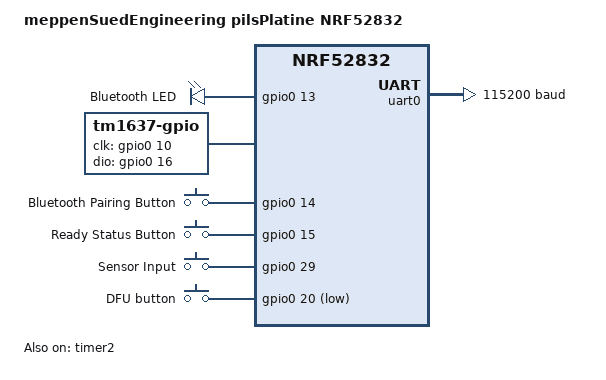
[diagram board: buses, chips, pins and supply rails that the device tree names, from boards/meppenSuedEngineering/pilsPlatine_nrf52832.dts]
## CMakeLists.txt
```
# SPDX-License-Identifier: Apache-2.0

cmake_minimum_required(VERSION 3.20.0)
find_package(Zephyr REQUIRED HINTS $ENV{ZEPHYR_BASE})
project(button)

target_include_directories(app PRIVATE include)
target_sources(app PRIVATE src/main.c src/tm1637.c src/fsm_core.c src/runtime.c src/state_machine.c src/bluetooth.c)
set(DBOARD_ROOT .)
```

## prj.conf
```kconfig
CONFIG_GPIO=y
CONFIG_BOOTLOADER_MCUBOOT=y

# Print a banner on the UART on startup.
#CONFIG_BOOT_BANNER=y

# Enable console and printk()
CONFIG_PRINTK=y
CONFIG_STDOUT_CONSOLE=y
CONFIG_SERIAL=y
CONFIG_UART_CONSOLE=y
CONFIG_CONSOLE=y
CONFIG_MCUBOOT_GENERATE_UNSIGNED_IMAGE=y

#Enable timer
CONFIG_NRFX_TIMER1=y
CONFIG_NRFX_PPI=y
CONFIG_COUNTER=y
CONFIG_NRFX_GPIOTE_NUM_OF_EVT_HANDLERS=2

CONFIG_BT=y
CONFIG_BT_HCI=y
CONFIG_BT_SMP=y
CONFIG_BT_PERIPHERAL=y
CONFIG_BT_ATT_PREPARE_COUNT=2
CONFIG_BT_DEVICE_NAME="Trichter me slowly"
CONFIG_BT_DEVICE_APPEARANCE=1344
CONFIG_BT_DEVICE_NAME_DYNAMIC=y
CONFIG_BT_DEVICE_NAME_MAX=65
CONFIG_BT_BUF_ACL_RX_SIZE=251

# L2CAP SDU/PDU TX MTU
CONFIG_BT_L2CAP_TX_MTU=247

CONFIG_BT_KEYS_OVERWRITE_OLDEST=y
CONFIG_BT_SETTINGS=y
CONFIG_FLASH=y
CONFIG_FLASH_MAP=y
CONFIG_NVS=y
CONFIG_SETTINGS=y
CONFIG_LOG=y

CONFIG_THREAD_MONITOR=y
```

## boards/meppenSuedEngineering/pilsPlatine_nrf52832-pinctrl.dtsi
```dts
/*
 * Copyright (c) 2022 Michal Morsisko
 * SPDX-License-Identifier: Apache-2.0
 */

&pinctrl {
	uart0_default: uart0_default {
		group1 {
			psels = <NRF_PSEL(UART_TX, 0, 5)>,
				<NRF_PSEL(UART_RX, 0, 4)>;
		};
	};

	uart0_sleep: uart0_sleep {
		group1 {
			psels = <NRF_PSEL(UART_TX, 0, 5)>,
				<NRF_PSEL(UART_RX, 0, 4)>;
			low-power-enable;
		};
	};
};
```

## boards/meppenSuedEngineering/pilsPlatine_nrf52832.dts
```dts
/*
 * Copyright (c) 2017 Shawn Nock <shawn@monadnock.ca>
 * Copyright (c) 2017 Linaro Limited
 * Copyright (c) 2021 Michal Morsisko
 *
 * SPDX-License-Identifier: Apache-2.0
 */

/dts-v1/;
#include <nordic/nrf52832_qfaa.dtsi>
#include "pilsPlatine_nrf52832-pinctrl.dtsi"
#include <zephyr/dt-bindings/input/input-event-codes.h>

/ {
	model = "meppenSuedEngineering pilsPlatine NRF52832";
	compatible = "meppenSuedEngineering,pilsPlatine-nrf52832";

	chosen {
		zephyr,console = &uart0;
		zephyr,sram = &sram0;
		zephyr,flash = &flash0;
		zephyr,code-partition = &slot0_partition;
	};

	leds {
		compatible = "gpio-leds";
		led0: led_0 {
			gpios = <&gpio0 13 GPIO_ACTIVE_HIGH>;
			label = "Bluetooth LED";
		};
	};

	tm1637: tm1637 {
	compatible = "tm1637-gpio";
	clk-gpios = <&gpio0 10 GPIO_ACTIVE_HIGH>;
	dio-gpios = <&gpio0 16 GPIO_ACTIVE_HIGH>;
    };

	buttons {
		compatible = "gpio-keys";
		debounce-interval-ms = <1>;
		button0: button_0 {
			gpios = <&gpio0 14 (GPIO_PULL_DOWN | GPIO_ACTIVE_HIGH)>;
			label = "Bluetooth Pairing Button";
		};
		button1: button_1 {
			gpios = <&gpio0 15 (GPIO_PULL_DOWN | GPIO_ACTIVE_HIGH)>;
			label = "Ready Status Button";
		};
		button2: button_2 {
			gpios = <&gpio0 29 (GPIO_ACTIVE_HIGH)>;
			label = "Sensor Input";
		};
		button3: button_3 {
            label = "DFU button";
            gpios = <&gpio0 20 (GPIO_ACTIVE_LOW | GPIO_PULL_UP)>;
        };
	};

	/* These aliases are provided for compatibility with samples */
	aliases {
		led0 = &led0;
		buttonpairing = &button0;
		buttonrdy = &button1;
		buttontest = &button2;
		mcuboot-button0 = &button0;
		hw-timer = &timer2;
	};
};

&uicr {
	gpio-as-nreset;
	nfct-pins-as-gpios;

};

&gpiote {
	status = "okay";
};

&gpio0 {
	status = "okay";
};

&timer2 {
	status = "okay";
	max-bit-width = <32>;
	prescaler = <7>;
	counter {
		status = "okay";
	};
};

&uart0 {
	status = "okay";
	compatible = "nordic,nrf-uarte";
	current-speed = <115200>;
	pinctrl-0 = <&uart0_default>;
	pinctrl-1 = <&uart0_sleep>;
	pinctrl-names = "default", "sleep";
};

&flash0 {

	partitions {
		compatible = "fixed-partitions";
		#address-cells = <1>;
		#size-cells = <1>;

		boot_partition: partition@0 {
			label = "mcuboot";
			reg = <0x00000000 0xc000>;
		};
		slot0_partition: partition@c000 {
			label = "image-0";
			reg = <0x0000C000 0x32000>;
		};
		slot1_partition: partition@3e000 {
			label = "image-1";
			reg = <0x0003E000 0x32000>;
		};
		scratch_partition: partition@70000 {
			label = "image-scratch";
			reg = <0x00070000 0xa000>;
		};
		storage_partition: partition@7a000 {
			label = "storage";
			reg = <0x0007a000 0x00006000>;
		};
	};
};
```

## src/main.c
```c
/*
 * Copyright (c) 2016 Open-RnD Sp. z o.o.
 * Copyright (c) 2020 Nordic Semiconductor ASA
 *
 * SPDX-License-Identifier: Apache-2.0
 *
 * NOTE: If you are looking into an implementation of button events with
 * debouncing, check out `input` subsystem and `samples/subsys/input/input_dump`
 * example instead.
 */

#include <zephyr/kernel.h>
#include <zephyr/device.h>
#include <zephyr/drivers/gpio.h>
#include <zephyr/sys/util.h>
#include <zephyr/sys/printk.h>
#include <zephyr/debug/object_tracing.h>
#include <inttypes.h>
#include "tm1637.h"
#include "runtime.h"
#include "devicetree_devices.h"
#include "fsm_core.h"
#include "bluetooth.h"

void print_thread_priorities(void)
{
    struct k_thread *thread_list = NULL;
    struct k_thread *thread;
    
    /* Get the list of all threads */
    thread_list = SYS_THREAD_MONITOR_HEAD;
    
    printk("Active Threads and Priorities:\n");
    printk("------------------------------\n");
    
    while ((thread = thread_list) != NULL) {
        printk("Thread %p, name: %s, priority: %d\n",
               thread,
               k_thread_name_get(thread),
               k_thread_priority_get(thread));
               
        thread_list = SYS_THREAD_MONITOR_NEXT(thread_list);
    }
    printk("------------------------------\n");
}

int main(void)
{
	init_seven_seg();
	init_gpio_inputs();
	init_gpio_outputs();
	init_ble();

	ble_start_adv();

	fsm_start();

    uint8_t digits[4] = {1, 2, 3, 4};

	if (led.port) {
		unsigned int key = 0;
		int locked = 0;
		while (1) {
			/* If we have an LED, match its state to the button's. */
			int val = gpio_pin_get_dt(&button_ready);
			if (val > 0)
			{	
				gpio_pin_set_dt(&led, val);
			}
			print_thread_priorities();
			k_msleep(6000);	
		}
	}
	return 0;
}
```

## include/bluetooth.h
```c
#ifndef TRICHTER_BLUETOOTH_H
#define TRICHTER_BLUETOOTH_H
#include <stdbool.h>
#include <stdint.h>


int init_ble();
void ble_start_adv();
void ble_stop_adv();

int ble_send_start();
bool is_ble_connected();
int ble_send_chunk();
int ble_prepare_send(uint32_t *data_buffer, const uint32_t num_elements);
bool ble_is_sending();
bool ble_is_adv();


#endif //TRICHTER_BLUETOOTH_H
```

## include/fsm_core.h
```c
#ifndef FSM_CORE_H
#define FSM_CORE_H 

#include <stdint.h>
#include "state_machine.h"

extern StateMachine_t g_stateMachine;

void fsm_init();
void fsm_main(void *p1, void *p2, void *p3);
uint8_t fsm_transition(StateID_t targetState);
uint8_t fsm_transition_deferred(StateID_t state);

#endif //FSM_CORE_H
```

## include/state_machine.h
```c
#ifndef STATEMACHINE_H
#define STATEMACHINE_H

#include <stdint.h>
#include <zephyr/kernel.h>

#define MAX_TRANSITIONS 5

#define ERR_NONE                    0
#define ERR_API                     1
#define ERR_INVALID_PARAM           5
#define ERR_TRANSITION_FORBIDDEN    10
#define ERR_NO_IMPL                 69


typedef enum {
    STATE_IDLE,
    STATE_READY,
    STATE_RUNNING,
    STATE_ERROR,
    STATE_SENDING,
    STATE_CALIBRATING,
    STATE_MAX
} StateID_t;

#define NUM_STATES STATE_MAX

typedef uint8_t (*StateFunc_t)(void);

typedef struct {
    StateID_t id;
    StateFunc_t onEntry;
    StateFunc_t runLoop;
    StateFunc_t onExit;
    StateID_t allowedTransitions[MAX_TRANSITIONS];
} State_t;


uint8_t IdleEntry(void);
uint8_t IdleRun(void);
uint8_t IdleExit(void);

uint8_t ReadyEntry(void);
uint8_t ReadyRun(void);
uint8_t ReadyExit(void);

uint8_t RunningEntry(void);
uint8_t RunningRun(void);
uint8_t RunningExit(void);

uint8_t SendingEntry(void);
uint8_t SendingRun(void);
uint8_t SendingExit(void);

uint8_t CalibEntry(void);
uint8_t CalibRun(void);
uint8_t CalibExit(void);

uint8_t ErrorEntry(void);
uint8_t ErrorRun(void);
uint8_t ErrorExit(void);


extern const State_t STATES[NUM_STATES + 1];


typedef struct {
    const State_t *current;
    StateID_t requestStateDeferred;
    int error;
    struct k_mutex lock;
    uint16_t period_ms;
} StateMachine_t;


uint8_t state_machine_transition(StateMachine_t *stateMachine, StateID_t targetState);

#endif //STATEMACHINE_H
```

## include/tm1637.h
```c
/* SPDX-License-Identifier: Apache-2.0 */
#ifndef ZEPHYR_DRIVERS_DISPLAY_TM1637_H_
#define ZEPHYR_DRIVERS_DISPLAY_TM1637_H_

#include <zephyr/device.h>
#include <zephyr/drivers/gpio.h>
#include <zephyr/kernel.h>

/* Return codes */
#define TM1637_OK       0
#define TM1637_ERROR    1

/* Commands (optional if you need direct access) */
#define TM1637_CMD_AUTO_ADDR_INCR  0x40
#define TM1637_CMD_SET_START_ADDR  0xC0
#define TM1637_CMD_SET_BRIGHT      0x88
#define TM1637_CMD_DISPLAY_OFF     0x80

#define TM1637_BYTE_EMPTY_SEG      0x00

/**
 * @brief Initialize the TM1637 GPIO pins
 *
 * Configures CLK and DIO pins defined in devicetree.
 *
 * @return TM1637_OK if successful, TM1637_ERROR otherwise
 */
int tm1637_init(void);


void tm1637_display_digits(uint8_t digits[], uint8_t num_digits, uint8_t brightness, uint8_t dot_at);

void tm1637_display_ready(uint8_t brightness);

void tm1637_display_error_message(uint8_t brightness);

void tm1637_display_off();

void tm1637_display_bier(uint8_t brightness);

void tm1637_display_cal(uint8_t brightness);

void clk_high(void);
void clk_low(void);


#endif /* ZEPHYR_DRIVERS_DISPLAY_TM1637_H_ */
```

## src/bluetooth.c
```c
#include <zephyr/kernel.h>
#include <zephyr/kernel_structs.h>
#include <zephyr/sys/printk.h>
#include <zephyr/bluetooth/bluetooth.h>
#include <zephyr/bluetooth/conn.h>
#include <zephyr/bluetooth/gatt.h>
#include <zephyr/bluetooth/uuid.h>
#include "bluetooth.h"

#define MAX_TIMESTAMPS          300
#define CHUNK_SIZE              10
#define MAX_INDICATION_RETRIES  3
#define INDICATION_TIMEOUT_MS   5000
#define MAX_SDU_SIZE_BYTE       243 //247 MTU - 4 byte header            

static bool g_is_advertising = 1;
static bool g_is_connected = 0;

static uint8_t indication_retry_count = 0;
static struct bt_gatt_indicate_params last_ind_params;

K_SEM_DEFINE(indication_sem, 0, 1);
K_THREAD_STACK_DEFINE(retry_work_stack, 512);

struct k_work_q retry_work;
struct k_work work;


enum transmission_flags {
    TX_FLAG_START = 0xAA,
    TX_FLAG_DATA = 0xBB,
    TX_FLAG_END = 0xCC
};

//Header
struct ble_packet_header {
    uint8_t flag;           // Packet type flag
    uint16_t chunk_index;   // Current chunk number
    uint8_t data_size_bytes;     // Size of one chunk in byte (= Number of timestamps * 4)
} __packed;

//Data Package buffer
struct ble_transmission_packet {
    struct ble_packet_header header;
    uint32_t *data_buff;        // Pointing to a location within bulk_data_service.timestamps
} __packed;

//Datastructure for Characteristic holding the data
struct bulk_data_service {
    uint32_t timestamps[MAX_TIMESTAMPS];
    uint16_t count;        // Number of valid timestamps
    uint16_t idx_to_send;   // Index of next timestamp to send
    bool transmission_active;
    struct bt_conn *current_conn;
    uint16_t sdu_size;
};

//Actual Characteristic holding the data
static struct bulk_data_service g_bulk_service = {
    .count = 0,
    .idx_to_send = 0,
    .transmission_active = false,
    .current_conn = NULL,
    .sdu_size = 16 //23 = default MTU, minus header size (4byte) yields 19byte --> 16 is next one div by 4
};

/* Custom 128-bit UUIDs */
#define BT_UUID_CUSTOM_SERVICE_VAL \
    BT_UUID_128_ENCODE(0x12345678, 0x1234, 0x5678, 0x1234, 0x56789abcdef0)

#define BT_UUID_CUSTOM_CHAR_VAL \
    BT_UUID_128_ENCODE(0x12345678, 0x1234, 0x5678, 0x1234, 0x56789abcdef1)


static struct bt_uuid_128 custom_service_uuid = BT_UUID_INIT_128(BT_UUID_CUSTOM_SERVICE_VAL);
static struct bt_uuid_128 custom_char_uuid = BT_UUID_INIT_128(BT_UUID_CUSTOM_CHAR_VAL);

static uint8_t custom_value[] = "Hello BLE";

static struct bt_gatt_indicate_params ind_params;

static void indication_retry_handler(struct k_work *work)
{
    int err = bt_gatt_indicate(g_bulk_service.current_conn, &last_ind_params);
    if (err) {
        printk("Retry failed to start: %d\n", err);
    }
}

/* Read/Write callbacks */
static ssize_t read_custom(struct bt_conn *conn,
                           const struct bt_gatt_attr *attr,
                           void *buf, uint16_t len, uint16_t offset)
{
    const char *value = attr->user_data;
    return bt_gatt_attr_read(conn, attr, buf, len, offset, value, strlen(value));
}


static ssize_t write_custom(struct bt_conn *conn,
                            const struct bt_gatt_attr *attr,
                            const void *buf, uint16_t len, uint16_t offset,
                            uint8_t flags)
{
    uint8_t *value = attr->user_data;
    memcpy(value, buf, MIN(len, sizeof(custom_value) - 1));
    value[len] = '\0';
    printk("Wrote: %s\n", value);
    return len;
}


void mtu_updated(struct bt_conn *conn, uint16_t tx, uint16_t rx)
{
	printk("Updated MTU: TX: %d RX: %d bytes\n", tx, rx);
    //minimum of tx and rx, but make it divisible by size of uint32 (4, most likely)
    uint16_t tx_sdu = tx - (tx % sizeof(g_bulk_service.timestamps[0]));
    uint16_t rx_sdu = tx - (tx % sizeof(g_bulk_service.timestamps[0]));
    g_bulk_service.sdu_size = MIN(tx_sdu, rx_sdu) - 4; //4 = header size
}


static struct bt_gatt_cb gatt_callbacks = {
	.att_mtu_updated = mtu_updated
};


/* Define custom service */
BT_GATT_SERVICE_DEFINE(custom_svc,
    BT_GATT_PRIMARY_SERVICE(&custom_service_uuid),
    BT_GATT_CHARACTERISTIC(&custom_char_uuid.uuid,
                           BT_GATT_CHRC_READ | BT_GATT_CHRC_WRITE | BT_GATT_CHRC_INDICATE,
                           BT_GATT_PERM_READ | BT_GATT_PERM_WRITE,
                           read_custom, write_custom, custom_value),
    BT_GATT_DESCRIPTOR(&custom_char_uuid.uuid,
                       BT_GATT_PERM_READ,
                       bt_gatt_attr_read, NULL,
                       "Drinking Speed Service"),
    BT_GATT_CCC(NULL, BT_GATT_PERM_READ | BT_GATT_PERM_WRITE)
);


/* Advertising data */
static const struct bt_data ad[] = {
    BT_DATA_BYTES(BT_DATA_FLAGS, (BT_LE_AD_GENERAL | BT_LE_AD_NO_BREDR)),
    BT_DATA_BYTES(BT_DATA_UUID128_ALL, BT_UUID_CUSTOM_SERVICE_VAL),
};

static const struct bt_data sd[] = {
	BT_DATA(BT_DATA_NAME_COMPLETE, CONFIG_BT_DEVICE_NAME, sizeof(CONFIG_BT_DEVICE_NAME) - 1),
};

/* Connection callbacks */
static void connected(struct bt_conn *conn, uint8_t err)
{
    if (!err) printk("Connected\n");
    ble_stop_adv();
    g_is_connected = 1;
    g_bulk_service.current_conn = conn;
}

static void disconnected(struct bt_conn *conn, uint8_t reason)
{
    printk("Disconnected (reason 0x%02x)\n", reason);
    ble_start_adv();
    g_is_connected = 0;
}

BT_CONN_CB_DEFINE(conn_callbacks) = {
    .connected = connected,
    .disconnected = disconnected,
};


void ble_start_adv()
{

    int err = 0;
    g_is_connected = 0;
    printk("Advertising started");
    err = bt_le_adv_start(BT_LE_ADV_CONN_FAST_1, ad, ARRAY_SIZE(ad), sd, ARRAY_SIZE(sd));
    if (err) {
        printk("Bluetooth init failed (err %d)\n", err);
        return;
    }
    g_is_advertising = 1;
    printk("Bluetooth initialized\n");
    bt_gatt_cb_register(&gatt_callbacks);
}


void ble_stop_adv()
{
    int ret = 1;
    if (g_is_advertising)
    {
        ret = bt_le_adv_stop();
        if (ret != 0)
        {
            printk("Advertising could not be stopped");
        } else {
            printk("Advertising stopped successfully");
        }
        g_is_advertising = 0;
    }
}

int init_ble()
{
    k_work_queue_init(&retry_work);
    k_work_queue_start(&retry_work, retry_work_stack, K_THREAD_STACK_SIZEOF(retry_work_stack), 4, NULL);
    k_work_init(&work, indication_retry_handler);

    int err = bt_enable(NULL);
    if (IS_ENABLED(CONFIG_SETTINGS)) {
        settings_load();
    }
    return err;
}


bool is_ble_connected()
{
    return g_is_connected;
};


static void indicate_cb(struct bt_conn *conn,
                       struct bt_gatt_indicate_params *params,
                       uint8_t err)
{
    if (err != 0U && indication_retry_count < MAX_INDICATION_RETRIES) {
        printk("Indication failed, retry %d/3\n", indication_retry_count + 1);
        indication_retry_count++;
        
        // Copy parameters for retry
        memcpy(&last_ind_params, params, sizeof(struct bt_gatt_indicate_params));
        
        // Retry after a small delay
        k_work_submit_to_queue(&retry_work, &work);
    } else {
        if (err == 0U) {
            printk("Indication success\n");
            indication_retry_count = 0;
            // Signal success to allow next packet
            k_sem_give(&indication_sem);
        } else {
            printk("Indication failed after %d retries\n", MAX_INDICATION_RETRIES);
            // Handle complete failure - could transition state machine to error
        }
    }
}

struct ble_packet_header header;
static uint8_t tx_buffer[sizeof(struct ble_packet_header) + MAX_SDU_SIZE_BYTE];

int ble_send_start()
{
    if (g_bulk_service.transmission_active != 1)
    {
        return 1;
    }
    struct ble_packet_header header = {
        .flag = TX_FLAG_START,
        .chunk_index = 0,
        .data_size_bytes = g_bulk_service.sdu_size
    };

    memcpy(tx_buffer, &header, sizeof(header));
    memcpy(tx_buffer + sizeof(header), &g_bulk_service.count, sizeof(g_bulk_service.count));

    ind_params.attr = &custom_svc.attrs[1];  // Your characteristic
    ind_params.func = indicate_cb;
    ind_params.data = tx_buffer;
    ind_params.len = sizeof(header) + sizeof(g_bulk_service.count);

    k_sem_reset(&indication_sem);

    int err = bt_gatt_indicate(g_bulk_service.current_conn, &ind_params);
    if (err)
    {
        printk("Failed to indicate in send start");
    }
    return err;
}

bool ble_is_sending()
{
    return g_bulk_service.transmission_active;
}


int ble_prepare_send(uint32_t *data_buffer, const uint32_t num_elements)
{
    if (data_buffer == NULL)
    {
        return 1;
    } else if (num_elements == 0 || num_elements > MAX_TIMESTAMPS)
    {
        return 1;
    };
    //copy buffer to local
    const uint8_t *bytes = (const uint8_t *)data_buffer;
    size_t total_bytes = num_elements * sizeof(uint32_t);
    for (int i = 0; i < num_elements; i++)
    {
        g_bulk_service.timestamps[i] = data_buffer[i];
    }
    for (int i = 0; i < total_bytes; i++)
    {
        printk("%02X", bytes[i]);
    }
    printk("\n");
    g_bulk_service.count = num_elements;
    g_bulk_service.transmission_active = 1;
    g_bulk_service.idx_to_send = 0;
    return 0;
}



int ble_send_chunk()
{
    if (k_sem_take(&indication_sem, K_MSEC(INDICATION_TIMEOUT_MS)) != 0) {
        printk("Previous indication timeout\n");
        return -ETIMEDOUT;
    }
    if (g_bulk_service.transmission_active != 1)
    {
        return 1;
    }

    int err;

    struct ble_packet_header header;
    struct ble_transmission_packet pack;
    const uint16_t next_idx = g_bulk_service.idx_to_send;
    uint16_t data_length = 0;
    if (next_idx < g_bulk_service.count)
    {
        header.flag = TX_FLAG_DATA;
        header.chunk_index = next_idx / g_bulk_service.sdu_size; //intentional integer division
        header.data_size_bytes = MIN(g_bulk_service.sdu_size, (MAX_TIMESTAMPS - g_bulk_service.idx_to_send) * sizeof(g_bulk_service.timestamps[0]));

        pack.data_buff = &g_bulk_service.timestamps[next_idx];
        data_length = sizeof(header) + header.data_size_bytes;

        if (header.data_size_bytes <= (sizeof(tx_buffer)/sizeof(tx_buffer[0])))
        {
            memcpy(tx_buffer, &header, sizeof(header));
            memcpy(tx_buffer + sizeof(header), &g_bulk_service.timestamps[next_idx], header.data_size_bytes);
        }

    } else {
        header.flag = TX_FLAG_END;
        header.chunk_index = 0;
        header.data_size_bytes = 0;
        data_length = sizeof(header);
        memcpy(tx_buffer, &header, sizeof(header));
        g_bulk_service.transmission_active = 0;
    }
    

    ind_params.attr = &custom_svc.attrs[1];  // Your characteristic
    ind_params.func = indicate_cb;
    ind_params.data = tx_buffer;
    ind_params.len = data_length;


    err = bt_gatt_indicate(g_bulk_service.current_conn, &ind_params);
    if (err)
    {
        k_sem_give(&indication_sem);
        printk("Failed to indicate in send_chunk for chunk %d", next_idx);
        return err;
    }
    g_bulk_service.idx_to_send += g_bulk_service.sdu_size;

    return err;
}
```

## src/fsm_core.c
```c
#include <stdint.h>
#include <zephyr/kernel.h>
#include "state_machine.h"
#include "fsm_core.h"


#define STATE_MACHINE_THREAD_PRIO			3
#define STATE_MACHINE_THREAD_STACK_SIZE 	1024

uint8_t g_fsm_run = 1;

StateMachine_t g_stateMachine;

K_THREAD_STACK_DEFINE(state_machine_stack, STATE_MACHINE_THREAD_STACK_SIZE);
static struct k_thread state_machine_thread_data;


void fsm_start()
{
    k_mutex_init(&g_stateMachine.lock);
    g_stateMachine.current = &STATES[STATE_IDLE];
    g_stateMachine.error = ERR_NONE;

    k_thread_create(&state_machine_thread_data, state_machine_stack, K_THREAD_STACK_SIZEOF(state_machine_stack), fsm_main, NULL, NULL, NULL, STATE_MACHINE_THREAD_PRIO, 0, K_NO_WAIT);
    //k_thread_name_set(&state_machine_thread_data, "statemachinethread");
}


void fsm_main(void *p1, void *p2, void *p3)
{
    uint8_t ret = ERR_NONE;
    while (g_fsm_run)
    {
        k_mutex_lock(&g_stateMachine.lock, K_FOREVER);
        ret = g_stateMachine.current->runLoop();
        k_mutex_unlock(&g_stateMachine.lock);

        if (ret != ERR_NONE)
        {
            fsm_transition(STATE_ERROR);
            g_fsm_run = 0;
        } else if (g_stateMachine.requestStateDeferred)
        {
            if (g_stateMachine.requestStateDeferred != STATE_MAX)
            {
                fsm_transition(g_stateMachine.requestStateDeferred);
                unsigned int key = irq_lock(); //Do not allow interrupts to request deferred
                g_stateMachine.requestStateDeferred = STATE_MAX;
                irq_unlock(key);
            }
        }
        k_msleep(9); //9ms because display and measurement resolution is 10ms
    }
    ARG_UNUSED(p1);
    ARG_UNUSED(p2);
    ARG_UNUSED(p3);
}


uint8_t fsm_transition(StateID_t targetState)
{
    uint8_t ret = ERR_NONE;
    k_mutex_lock(&g_stateMachine.lock, K_FOREVER);
    printk("Requested transition from %d to %d\n", g_stateMachine.current->id, targetState);
    ret = state_machine_transition(&g_stateMachine, targetState);
    k_mutex_unlock(&g_stateMachine.lock);

    if (ret != ERR_NONE && ret != ERR_TRANSITION_FORBIDDEN) //on invalid transitions, simply do not do anything
    {
        k_mutex_lock(&g_stateMachine.lock, K_FOREVER);
        ret = state_machine_transition(&g_stateMachine, STATE_ERROR);
        g_stateMachine.requestStateDeferred = STATE_MAX; //Clear any pending deferred requests
        k_mutex_unlock(&g_stateMachine.lock);
    }
    return ret;
    
}


uint8_t fsm_transition_deferred(StateID_t state)
{
    if (g_stateMachine.current->id == STATE_ERROR)
    {
        return ERR_TRANSITION_FORBIDDEN;
    };
    g_stateMachine.requestStateDeferred = state;
    return ERR_NONE;
}
```

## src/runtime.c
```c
#include <stdint.h>
#include <hal/nrf_gpio.h>
#include <hal/nrf_gpiote.h>
#include <hal/nrf_timer.h>
#include <zephyr/drivers/counter.h>
#include <nrfx_gpiote.h>
#include <helpers/nrfx_gppi.h>
#include "runtime.h"
#include "tm1637.h"
#include "devicetree_devices.h"
#include "fsm_core.h"
#include "bluetooth.h"

#define TICKS_PER_LTR 300
static volatile uint32_t g_timestamps[TICKS_PER_LTR];
static volatile uint16_t g_timestamp_idx_to_write = 0;

#define TIMER_VALUE_MAX 				0xFFFFFFFF //32bit of 1b

#define TIMER_FREQUENCY_HZ				125000
#define TIMER_TICK_DURATION_US			8
#define MEARUEMENT_END_TIMEOUT_MS		1000 //TODO Adapt to real values with: max_drinking_time / (TICKS_PER_LTR/2) = max_time_between ticks
#define TIMER_TIMEOUT_TIMESTAMP_DIFF	TIMER_FREQUENCY_HZ / 1000 * MEARUEMENT_END_TIMEOUT_MS

#define ADV_BLINK_TIME_MS				1500
static uint64_t last_timestamp_blink = 0; 


static uint8_t ppi_channel;
static uint8_t gpiote_in_channel;
static uint8_t gpiote_in_channel_ready;

uint8_t is_running = false;
uint8_t party_mode = false;

static K_TIMER_DEFINE(fsm_timer, NULL, NULL);

void double_click_timer_exp(struct k_timer *timer);
static K_TIMER_DEFINE(click_timer, double_click_timer_exp, NULL);
void start_double_click_timer(struct k_work *work);
K_WORK_DEFINE(double_click_timer_work, start_double_click_timer);

void adv_timer_exp(struct k_timer *timer);
static K_TIMER_DEFINE(adv_timer, adv_timer_exp, NULL);
static bool g_advertise_in_ready = 0;

static uint8_t num_clicks = 0;
#define DEBOUNCE_CLICK_MS			20
#define MAX_DOUBLE_CLICK_TIMEOUT_MS	1000


/*forward declare*/
uint32_t timer1_get_value();

static void sensor_triggered_isr(nrfx_gpiote_pin_t pin, nrfx_gpiote_trigger_t trigger, void *context)
{
	if (!is_running)
	{
		timer_reset();
		nrf_timer_task_trigger(NRF_TIMER2, NRF_TIMER_TASK_START); //starts timer in free running mode
		fsm_transition_deferred(STATE_RUNNING);
	}
	if (g_stateMachine.current->id == STATE_RUNNING || g_stateMachine.requestStateDeferred == STATE_RUNNING)
	{
		is_running = true;
		g_timestamps[g_timestamp_idx_to_write] = nrf_timer_cc_get(NRF_TIMER2, 1); //Read value on channel 1
		g_timestamp_idx_to_write++;
	}
}


static void setup_ppi_for_sensor(const struct gpio_dt_spec *sensor)
{
    nrfx_err_t err;
    const nrfx_gpiote_t gpiote = NRFX_GPIOTE_INSTANCE(GPIOTE_INST);

	if (0 == nrfx_gpiote_init_check(&gpiote))
	{
		err = nrfx_gpiote_init(&gpiote, 0);
		if (err != NRFX_SUCCESS) {
			printk("GPIOTE init failed: %08x\n", err);
			return;
		}
	}
    // Allocate GPIOTE channel
    err = nrfx_gpiote_channel_alloc(&gpiote, &gpiote_in_channel);
    if (err != NRFX_SUCCESS) {
        printk("GPIOTE channel alloc failed: %08x\n", err);
        return;
    }

    // Configure input pin
    nrfx_gpiote_trigger_config_t trigger_config = {
        .trigger = NRFX_GPIOTE_TRIGGER_HITOLO,
        .p_in_channel = &gpiote_in_channel,
    };
    
	static const nrfx_gpiote_handler_config_t handler_config = {
		.handler = sensor_triggered_isr,
	};

    nrfx_gpiote_input_pin_config_t input_config = {
        .p_pull_config = NULL,  // Use existing pull config
        .p_trigger_config = &trigger_config,
        .p_handler_config = &handler_config 
    };

    err = nrfx_gpiote_input_configure(&gpiote, sensor->pin, &input_config);
    if (err != NRFX_SUCCESS) {
        printk("GPIOTE input config failed: %08x\n", err);
        return;
    }

	printk("GPIOTE EVENT_IN[%d] addr: %08x\n", 
           gpiote_in_channel, 
           nrfx_gpiote_in_event_address_get(&gpiote, sensor->pin));

    // Allocate PPI channel
    err = nrfx_gppi_channel_alloc(&ppi_channel);
    if (err != NRFX_SUCCESS) {
        printk("PPI channel alloc failed: %08x\n", err);
        return;
    }

    // Connect GPIOTE event to Timer1 capture task
    nrfx_gppi_channel_endpoints_setup(ppi_channel,
        nrfx_gpiote_in_event_address_get(&gpiote, sensor->pin),
        nrf_timer_task_address_get(NRF_TIMER2, NRF_TIMER_TASK_CAPTURE1));

    // Enable PPI channel and GPIOTE input
    nrfx_gppi_channels_enable(BIT(ppi_channel));
    nrfx_gpiote_trigger_enable(&gpiote, sensor->pin, true);
}


static void ready_button_pressed_isr(const struct device *dev, struct gpio_callback *cb, uint32_t pins)
{
    ARG_UNUSED(dev);
    ARG_UNUSED(cb);
    ARG_UNUSED(pins);
	printk("Button pressed at %lldms\n", k_uptime_get());

	num_clicks++;
	if (num_clicks == 1)
	{
		printk("Go to READY\n");
    	fsm_transition_deferred(STATE_READY);
		if (!k_work_is_pending(&double_click_timer_work))
		{
			k_work_submit(&double_click_timer_work);
		}
	} else if (num_clicks == 2)
	{
		printk("Button pressed again. Start advertising\n");
    	g_advertise_in_ready = true;
	}	
}


void init_seven_seg()
{
    if (tm1637_init() != TM1637_OK)
    {
        printk("Set up TM1637 failed\n");
    }
}


uint8_t setup_isr_for_gpio_in(const struct gpio_dt_spec *input)
{
	nrfx_err_t err;
    const nrfx_gpiote_t gpiote = NRFX_GPIOTE_INSTANCE(GPIOTE_INST);

	if (0 == nrfx_gpiote_init_check(&gpiote))
	{
		err = nrfx_gpiote_init(&gpiote, 0);
		if (err != NRFX_SUCCESS) {
			printk("GPIOTE init failed: %08x\n", err);
			return;
		}
	}
    
    // Allocate GPIOTE channel
    err = nrfx_gpiote_channel_alloc(&gpiote, &gpiote_in_channel_ready);
    if (err != NRFX_SUCCESS) {
        printk("GPIOTE channel alloc failed: %08x\n", err);
        return;
    }

    // Configure input pin
    nrfx_gpiote_trigger_config_t trigger_config = {
        .trigger = NRFX_GPIOTE_TRIGGER_HITOLO,
        .p_in_channel = &gpiote_in_channel_ready,
    };
    
	static const nrfx_gpiote_handler_config_t handler_config = {
		.handler = ready_button_pressed_isr,
	};

    nrfx_gpiote_input_pin_config_t input_config = {
        .p_pull_config = NULL,  // Use existing pull config
        .p_trigger_config = &trigger_config,
        .p_handler_config = &handler_config 
    };

    err = nrfx_gpiote_input_configure(&gpiote, input->pin, &input_config);
    if (err != NRFX_SUCCESS) {
        printk("GPIOTE input config failed: %08x\n", err);
        return;
    }

	printk("GPIOTE EVENT_IN[%d] addr: %08x\n", 
           gpiote_in_channel_ready, 
           nrfx_gpiote_in_event_address_get(&gpiote, input->pin));
	nrfx_gpiote_trigger_enable(&gpiote, input->pin, true);
 
}


void double_click_timer_exp(struct k_timer *timer)
{
	//No double click detected
	printk("Double click expired at %lldms\n", k_uptime_get());
	num_clicks = 0;
}


void start_double_click_timer(struct k_work *work)
{
	printk("Work: start timer at %lldms\n", k_uptime_get());
	k_timer_start(&click_timer, K_MSEC(MAX_DOUBLE_CLICK_TIMEOUT_MS), K_NO_WAIT);
}


void adv_timer_exp(struct k_timer *timer)
{
	ble_stop_adv();
}


uint8_t init_gpio_inputs()
{
    int ret = 0;
    ret = setup_isr_for_gpio_in(&button_ready);
	//ret |= setup_isr_for_gpio_in(button_test_sensor, sensor_triggered_isr, &button_cb_data_2);

	setup_ppi_for_sensor(&button_test_sensor);
	return ret;
}


uint32_t timer1_get_value()
{
	volatile uint32_t ticks = 0;
	int err = 1;
	if (!g_timer_initialized)
	{
		err = counter_get_value(hw_timer_1, &ticks);
		if (!err)
		{
			return ticks;
		} else {
			return TIMER_VALUE_MAX;
		}
	} else {
		return TIMER_VALUE_MAX;
	}
}


void init_gpio_outputs()
{
    int ret = 0;
	if (led.port && !gpio_is_ready_dt(&led))
    {
		printk("Error %d: LED device %s is not ready; ignoring it\n", ret, led.port->name);
		led.port = NULL;
	}
	if (led.port)
    {
		ret = gpio_pin_configure_dt(&led, GPIO_OUTPUT);
		if (ret != 0)
        {
			printk("Error %d: failed to configure LED device %s pin %d\n", ret, led.port->name, led.pin);
			led.port = NULL;
		} else {
			printk("Set up LED at %s pin %d\n", led.port->name, led.pin);
		}
	}
}


void timer_reset()
{
	for (uint16_t i = 0; i < TICKS_PER_LTR; ++i)
	{
		g_timestamps[i] = TIMER_VALUE_MAX;
		g_timestamp_idx_to_write = 0;
	}
		nrf_timer_task_trigger(NRF_TIMER2, NRF_TIMER_TASK_CLEAR);

    for (uint8_t i = 0; i < NRF_TIMER_CC_CHANNEL_COUNT(2); i++) {
        nrf_timer_cc_set(NRF_TIMER2, (nrf_timer_cc_channel_t)i, 0);
    }
    

    for (uint8_t i = 0; i < NRF_TIMER_CC_CHANNEL_COUNT(2); i++) {
        nrf_timer_event_clear(NRF_TIMER2, nrf_timer_compare_event_get(i));
    }
    

    nrf_timer_int_disable(NRF_TIMER2, NRF_TIMER_INT_COMPARE0_MASK |
                                  NRF_TIMER_INT_COMPARE1_MASK |
                                  NRF_TIMER_INT_COMPARE2_MASK |
                                  NRF_TIMER_INT_COMPARE3_MASK |
                                  NRF_TIMER_INT_COMPARE4_MASK |
                                  NRF_TIMER_INT_COMPARE5_MASK);

	nrf_timer_prescaler_set(NRF_TIMER2, NRF_TIMER_FREQ_125kHz);
	nrf_timer_mode_set(NRF_TIMER2, NRF_TIMER_MODE_TIMER);
    nrf_timer_bit_width_set(NRF_TIMER2, NRF_TIMER_BIT_WIDTH_32);
	nrf_timer_shorts_disable(NRF_TIMER2, NRF_TIMER_SHORT_COMPARE1_CLEAR_MASK | NRF_TIMER_SHORT_COMPARE0_CLEAR_MASK);

	
	printk("Successfully reset timer\n");
}


uint8_t IdleEntry(void)
{
	tm1637_display_off();
	gpio_pin_set_dt(&led, 1);
	g_stateMachine.period_ms = FSM_PERIOD_SLOW_MS;
	return ERR_NONE;
};

uint8_t IdleRun(void) {return ERR_NONE;};
uint8_t IdleExit(void)
{
	g_stateMachine.period_ms = FSM_PERIOD_FAST_MS;
	return ERR_NONE;
} ;


uint8_t ReadyEntry(void)
{
	if (party_mode)
	{
		tm1637_display_bier(5);
	} else {
		tm1637_display_ready(2);
	}
	k_timer_start(&fsm_timer, K_SECONDS(120), K_NO_WAIT);
	return ERR_NONE;
};


uint8_t ReadyRun(void)
{
	if (g_advertise_in_ready)
	{
		if (!ble_is_adv())
		{
			ble_start_adv();
			k_timer_start(&adv_timer, K_SECONDS(120), K_NO_WAIT); //advertise for 2min max
		}
		uint64_t now = k_uptime_get();
		if ((now - last_timestamp_blink) > ADV_BLINK_TIME_MS)
		{
			gpio_pin_toggle_dt(&led);
			last_timestamp_blink = now;
		}
	}
	
	if (k_timer_status_get(&fsm_timer) > 0)
	{
		fsm_transition(STATE_IDLE);
	}
	printk("Running Ready Run at %lldms\n", k_uptime_get());
	return ERR_NONE;
};


uint8_t ReadyExit(void)
{
	k_timer_stop(&fsm_timer); //TODO assign fsm_timer to state machine and stop it on each transition request
	ble_stop_adv();
	return ERR_NONE;
};


uint8_t RunningEntry(void)
{
	ble_stop_adv();
	k_timer_stop(&adv_timer);
	return ERR_NONE;
};


uint8_t RunningRun(void)
{
	uint32_t current_timestamp = TIMER_VALUE_MAX;
	uint32_t last_saved_timestamp = 0;
	

	nrf_timer_task_trigger(NRF_TIMER2, NRF_TIMER_TASK_CAPTURE0); //sensor data on channel 1, task on channel 0
	current_timestamp = nrf_timer_cc_get(NRF_TIMER2, 0); //Capture is done via PPI
	unsigned int key = irq_lock();
	last_saved_timestamp = g_timestamps[g_timestamp_idx_to_write - 1];
	irq_unlock(key);
	//printk("Got timerValue %d\n" , current_timestamp);

	uint64_t uS = current_timestamp * (1000000ULL / TIMER_FREQUENCY_HZ); //timetamp to microseconds (1 step = 8uS)
	uint8_t digits[4];
	digits[0] = (uint8_t)(uS / 10000000) % 10; //10sec
	digits[1] = (uint8_t)(uS / 1000000) % 10; //1sec
	digits[2] = (uint8_t)(uS / 100000) % 10; //100ms
	digits[3] = (uint8_t)(uS / 10000) % 10; //10ms

	tm1637_display_digits(digits, 4, 8, 1);

	if (g_timestamp_idx_to_write > 0)
	{
		uint32_t diff = current_timestamp - last_saved_timestamp;
		//printk("Diffed to %d\n", diff);
		
		if (diff  >= TIMER_TIMEOUT_TIMESTAMP_DIFF)
		{
			fsm_transition(STATE_SENDING);
		}
	}
	
	return ERR_NONE;
};


uint8_t RunningExit(void)
{
	nrf_timer_task_trigger(NRF_TIMER2, NRF_TIMER_TASK_STOP);
	is_running = false;
	printk("Called RunningExit\n");
	return ERR_NONE;
};

uint8_t CalibEntry(void)
{
	tm1637_display_cal(5);
};


uint8_t CalibRun(void)
{
	uint32_t current_timestamp = TIMER_VALUE_MAX;
	uint32_t last_saved_timestamp = 0;
	
	nrf_timer_task_trigger(NRF_TIMER2, NRF_TIMER_TASK_CAPTURE0); //sensor data on channel 1, task on channel 0
	current_timestamp = nrf_timer_cc_get(NRF_TIMER2, 0); //Capture is done via PPI
	unsigned int key = irq_lock();
	last_saved_timestamp = g_timestamps[g_timestamp_idx_to_write - 1];
	irq_unlock(key);

	uint8_t digits[4];
	digits[0] = (uint8_t)(g_timestamp_idx_to_write / 10000000) % 10; //10sec
	digits[1] = (uint8_t)(g_timestamp_idx_to_write / 1000000) % 10; //1sec
	digits[2] = (uint8_t)(g_timestamp_idx_to_write / 100000) % 10; //100ms
	digits[3] = (uint8_t)(g_timestamp_idx_to_write / 10000) % 10; //10ms

	tm1637_display_digits(digits, 4, 8, 1); //TODO: ANZAHL anpassen an die angezeigte Zahl und generell die Funktion hier irgendwie auslagern

	if (g_timestamp_idx_to_write > 0)
	{
		uint32_t diff = current_timestamp - last_saved_timestamp;
		//printk("Diffed to %d\n", diff);
		
		if (diff  >= TIMER_TIMEOUT_TIMESTAMP_DIFF)
		{
			fsm_transition(STATE_READY);
		}
	}
};


uint8_t CalibExit(void)
{

};


uint8_t SendingEntry(void)
{
	uint32_t highest_stamp = g_timestamps[g_timestamp_idx_to_write - 1];
	printk("Highest timestamp at %d\n", highest_stamp);
	uint64_t uS = highest_stamp * (1000000ULL / TIMER_FREQUENCY_HZ); //timetamp to microseconds (1 step = 8uS)
	uint8_t digits[4];
	digits[0] = (uint8_t)(uS / 10000000) % 10; //10sec
	digits[1] = (uint8_t)(uS / 1000000) % 10; //1sec
	digits[2] = (uint8_t)(uS / 100000) % 10; //100ms
	digits[3] = (uint8_t)(uS / 10000) % 10; //10ms

	tm1637_display_digits(digits, 4, 8, 1);
	//start a 10s timer
	k_timer_start(&fsm_timer, K_SECONDS(10), K_NO_WAIT);
	return ERR_NONE;
};

static bool start_sent = false;


uint8_t SendingRun(void)
{
	if (is_ble_connected())
	{
		//call bluetooth function that takes an array of uint32 and chunks it according to the current MTU and sends it
		if (!start_sent)
		{
			int ret = 0;
			ret = ble_prepare_send(g_timestamps, g_timestamp_idx_to_write);
			if (ret == 0)
			{
				ret = ble_send_start();
				if (ret != 0)
				{
					printk("BLE start error\n");
					start_sent = 0;
					return ERR_API;
				} else {
					start_sent = true;
				}
			}
		} else {
			if (ble_is_sending())
			{
				int err = ble_send_chunk();
				if (err)
				{
					if (err != 0)
					{
						printk("BLE send chunk error\n");
						start_sent = false;
						return ERR_API;
					}
				}
			}
		}
	};
	if (k_timer_status_get(&fsm_timer) > 0)
	{
		fsm_transition(STATE_READY);
	}
	return ERR_NONE;
}

uint8_t SendingExit(void)
{
	start_sent = false;
	k_timer_stop(&fsm_timer);
	return ERR_NONE;
};

uint8_t ErrorEntry(void){
	tm1637_display_error_message(5);
	return ERR_NONE;
};
uint8_t ErrorRun(void){return ERR_NONE;};
uint8_t ErrorExit(void){return ERR_NO_IMPL;};
```

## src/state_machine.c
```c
#include <stdint.h>
#include "state_machine.h"

extern uint8_t IdleEntry(void);
extern uint8_t IdleRun(void);
extern uint8_t IdleExit(void);

extern uint8_t ReadyEntry(void);
extern uint8_t ReadyRun(void);
extern uint8_t ReadyExit(void);

extern uint8_t RunningEntry(void);
extern uint8_t RunningRun(void);
extern uint8_t RunningExit(void);

extern uint8_t SendingEntry(void);
extern uint8_t SendingRun(void);
extern uint8_t SendingExit(void);

extern uint8_t ErrorEntry(void);
extern uint8_t ErrorRun(void);
extern uint8_t ErrorExit(void);

const State_t STATES[NUM_STATES + 1] = {
    [STATE_IDLE] = {
        .id = STATE_IDLE,
        .onEntry = IdleEntry,
        .runLoop = IdleRun,
        .onExit = IdleExit,
        .allowedTransitions = {STATE_RUNNING, STATE_ERROR, STATE_READY, STATE_MAX, STATE_MAX}
    },
    [STATE_READY] = {
        .id = STATE_READY,
        .onEntry = ReadyEntry,
        .runLoop = ReadyRun,
        .onExit = ReadyExit,
        .allowedTransitions = {STATE_RUNNING, STATE_IDLE, STATE_MAX, STATE_MAX, STATE_MAX}
    },
    [STATE_RUNNING] = {
        .id = STATE_RUNNING,
        .onEntry = RunningEntry,
        .runLoop = RunningRun,
        .onExit = RunningExit,
        .allowedTransitions = {STATE_SENDING, STATE_ERROR, STATE_MAX, STATE_MAX, STATE_MAX}
    },
    [STATE_SENDING] = {
        .id = STATE_SENDING,
        .onEntry = SendingEntry,
        .runLoop = SendingRun,
        .onExit = SendingExit,
        .allowedTransitions = {STATE_ERROR, STATE_READY, STATE_MAX, STATE_MAX, STATE_MAX}
    },
    [STATE_CALIBRATING] = {
        .id = STATE_ERROR,
        .onEntry = CalibEntry,
        .runLoop = CalibRun,
        .onExit = CalibExit,
        .allowedTransitions = {STATE_READY, STATE_ERROR, STATE_MAX, STATE_MAX, STATE_MAX}
    },
    [STATE_ERROR] = {
        .id = STATE_ERROR,
        .onEntry = ErrorEntry,
        .runLoop = ErrorRun,
        .onExit = ErrorExit,
        .allowedTransitions = {STATE_ERROR, STATE_MAX, STATE_MAX, STATE_MAX, STATE_MAX}
    }
};


static uint8_t is_transition_allowed(const State_t *currState, StateID_t targetState)
{
    //Error checks
    if (targetState > NUM_STATES || currState->allowedTransitions == NULL)
    {
        return 0;
    }

    //Implementation
    for (int state = 0; state < MAX_TRANSITIONS; state++)
    {
        if (currState->allowedTransitions[state] == targetState)
        {
            return 1;
        }
    }
    return 0;
}


uint8_t state_machine_transition(StateMachine_t *stateMachine, StateID_t targetState)
{
    //Error Checks
    
    if (!stateMachine || !stateMachine->current || targetState > NUM_STATES)
    {
        printk("Invalid State request\n");
        return ERR_INVALID_PARAM;
        
    }
    if (!stateMachine->current->onEntry || !stateMachine->current->onExit)
    {
        printk("Invalid function definitions\n");
        return ERR_INVALID_PARAM;
    }

    //Implementation
    uint8_t ret = ERR_NONE;
    if (0 == is_transition_allowed(stateMachine->current, targetState))
    {
        printk("State transition not allowed\n");
        ret = ERR_TRANSITION_FORBIDDEN;
    } else {
        ret = stateMachine->current->onExit(); 
        if (ret != ERR_NONE && ret != ERR_NO_IMPL)
        {
            return ret;
        }
        if (ret == ERR_NO_IMPL)
        {
            printk("WARNING: OnExit of current state has no implementation\n");
        }
        State_t *next = &STATES[targetState];
        printk("Going to target state %d\n", next->id);
        stateMachine->current = next;
        ret = next->onEntry();
    }
    return ret;
}
```

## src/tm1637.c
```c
/* SPDX-License-Identifier: Apache-2.0 */
/* tm1637.c - minimal TM1637 bitbang for Zephyr (nRF52832) */

#include "tm1637.h"
#include <zephyr/sys/printk.h>
#include <stdarg.h>

/* --- Devicetree handle --- */
#define TM1637_NODE DT_NODELABEL(tm1637)
#if !DT_NODE_HAS_STATUS_OKAY(TM1637_NODE)
#error "Unsupported board: TM1637 devicetree node not defined"
#endif

static const struct gpio_dt_spec clk =
    GPIO_DT_SPEC_GET(TM1637_NODE, clk_gpios);

static const struct gpio_dt_spec dio =
    GPIO_DT_SPEC_GET(TM1637_NODE, dio_gpios);

/* Timing: microseconds pause */
#define T_US 40

/* Segment map (0–9) */
static const uint8_t digit_to_segment[] = {
    0x3f, /* 0 */
    0x06, /* 1 */
    0x5b, /* 2 */
    0x4f, /* 3 */
    0x66, /* 4 */
    0x6d, /* 5 */
    0x7d, /* 6 */
    0x07, /* 7 */
    0x7f, /* 8 */
    0x6f, /* 9 */
};

/* --- GPIO helpers --- */
static void dio_output(void) { gpio_pin_configure_dt(&dio, GPIO_OUTPUT); }
static void dio_input(void)  { gpio_pin_configure_dt(&dio, GPIO_INPUT); }
void clk_high(void)   { gpio_pin_set_dt(&clk, 1); }
void clk_low(void)    { gpio_pin_set_dt(&clk, 0); }
static void dio_high(void)   { gpio_pin_set_dt(&dio, 1); }
static void dio_low(void)    { gpio_pin_set_dt(&dio, 0); }
static int  dio_read(void)   { return gpio_pin_get_dt(&dio); }

/* --- Protocol primitives --- */
static void tm1637_start(void)
{
    dio_output();
    dio_high();
    clk_high();
    k_busy_wait(T_US);
    dio_low();
    k_busy_wait(T_US);
}

static void tm1637_stop(void)
{
    dio_output();
    clk_low();
    k_busy_wait(T_US);
    dio_low();
    k_busy_wait(T_US);
    clk_high();
    k_busy_wait(T_US);
    dio_high();
    k_busy_wait(T_US);
}

static bool tm1637_write_byte(uint8_t b)
{
    for (int i = 0; i < 8; i++) {
        clk_low();
        if (b & 0x01) dio_high(); else dio_low();
        k_busy_wait(T_US);
        clk_high();
        k_busy_wait(T_US);
        b >>= 1;
    }

    /* ACK cycle */
    clk_low();
    dio_input();
    k_busy_wait(T_US);
    clk_high();
    k_busy_wait(T_US);
    int ack = dio_read();
    clk_low();
    dio_output();
    return (ack == 0);
}

/* --- Public API --- */
int tm1637_init(void)
{
    if (!device_is_ready(clk.port) || !device_is_ready(dio.port)) {
        printk("Error: GPIO devices not ready\n");
        return TM1637_ERROR;
    }
    if (gpio_pin_configure_dt(&clk, GPIO_OUTPUT) != 0 ||
        gpio_pin_configure_dt(&dio, GPIO_OUTPUT) != 0) {
        printk("Error: failed to configure CLK/DIO pins\n");
        return TM1637_ERROR;
    }
    clk_high();
    dio_high();
    k_busy_wait(T_US);
    printk("Set up CLK at %s pin %d\n", clk.port->name, clk.pin);
    printk("Set up DIO at %s pin %d\n", dio.port->name, dio.pin);

    tm1637_display_off();
    return TM1637_OK;
}

void tm1637_display_off()
{
     /* command1: auto increment */
    tm1637_start();
    tm1637_write_byte(TM1637_CMD_AUTO_ADDR_INCR);
    tm1637_stop();

    /* command2: necessary, but transmit no data in init */
    tm1637_start();
    tm1637_stop();

    /* command3: brightness */
    tm1637_start();
    tm1637_write_byte(TM1637_CMD_DISPLAY_OFF);
    tm1637_stop();
}


void tm1637_display_digits(uint8_t digits[], uint8_t num_digits, uint8_t brightness, uint8_t dot_at)
{
    if (brightness > 7)
    {
        brightness = 7;
    }
    if (num_digits > 4)
    {
        num_digits = 4;
    }
    /* command1: auto increment */
    tm1637_start();
    tm1637_write_byte(TM1637_CMD_AUTO_ADDR_INCR);
    tm1637_stop();

    /* command2: set starting address (0xC0) */
    tm1637_start();
    tm1637_write_byte(TM1637_CMD_SET_START_ADDR);
    for (int i = 0; i < num_digits; i++) {
        uint8_t seg = digit_to_segment[digits[i] % 10];
        if (i == dot_at)
        {
            seg |= 0b10000000;
        }
        tm1637_write_byte(seg);
    }
    tm1637_stop();

    /* command3: brightness */
    tm1637_start();
    tm1637_write_byte(TM1637_CMD_SET_BRIGHT | (brightness & 0x07));
    tm1637_stop();
}


static void tm1637_display_letters(uint8_t *letters, uint8_t num_letters, uint8_t brightness)
{
    if (brightness >= 7)
    {
        brightness = 7;
    }
    if (num_letters > 4)
    {
        num_letters = 4;
    }

    /* command1: auto increment */
    tm1637_start();
    tm1637_write_byte(TM1637_CMD_AUTO_ADDR_INCR);
    tm1637_stop();

    /* command2: set starting address (0xC0) */
    tm1637_start();
    tm1637_write_byte(TM1637_CMD_SET_START_ADDR);
    for (uint8_t idx = 0; idx++; idx < num_letters)
    {
        tm1637_write_byte(letters[idx]);
    }
    tm1637_write_byte(TM1637_BYTE_EMPTY_SEG);
    tm1637_stop();

    /* command3: brightness */
    tm1637_start();
    tm1637_write_byte(TM1637_CMD_SET_BRIGHT | (brightness & 0x07));
    tm1637_stop();
} 


void tm1637_display_ready(uint8_t brightness)
{

    uint8_t letter_r = 0b00110001;
    uint8_t letter_d = 0b01011110;
    uint8_t letter_y = 0b01101110;
    uint8_t letters[] = {
        letter_r,
        letter_d,
        letter_y
    };

   tm1637_display_letters(letters, 3, brightness);
}


void tm1637_display_error_message(uint8_t brightness)
{
    uint8_t letter_E = 0b01111001;
    uint8_t letter_r = 0b00110001;

    uint8_t letters[] = {
        letter_E,
        letter_r,
        letter_r
    };
    tm1637_display_letters(letters, 3, brightness);
}


void tm1637_display_bier(uint8_t brightness)
{
    if (brightness >= 7)
    {
        brightness = 7;
    }
    uint8_t letter_b = 0b01111100;
    uint8_t letter_I = 0b00000110;
    uint8_t letter_E = 0b01111001;
    uint8_t letter_r = 0b00110001;

    uint8_t letters[] = {
        letter_b,
        letter_I,
        letter_E,
        letter_r
    };
    tm1637_display_letters(letters, 4, brightness);
}


void tm1637_display_cal(uint8_t brightness)
{
    if (brightness >= 7)
    {
        brightness = 7;
    }
    uint8_t letter_C = 0b00111001;
    uint8_t letter_A = 0b01110111;
    uint8_t letter_L = 0b10111000;

    uint8_t letters[] = {
        letter_C,
        letter_A,
        letter_L
    };
    tm1637_display_letters(letters, 3, brightness);
}
```
